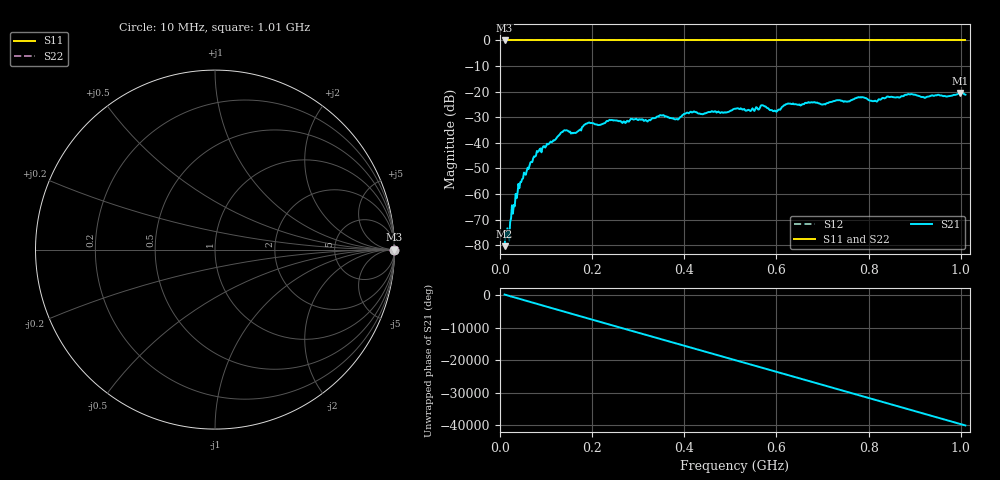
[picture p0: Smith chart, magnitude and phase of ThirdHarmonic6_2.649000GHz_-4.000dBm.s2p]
! 8/17/2025 6:01:55 AM
! C:\ANRITSUVNA\TEMP\TEMP.S2P
! CHANNEL.1
! TR.MEASUREMENT
! RAW.DATA
! RF.CORRECTION.OFF
! AVERAGING.OFF
! IF.BANDWIDTH: 5KHZ
! SWEEPTYPE:  FREQ.SWEEP(Linear)
! Reference Plane Port Info
! PORT:  PORT1  PORT2
! DISTANCE:  0  m  0  m
! TIME:  0  s  0  s
! PHASE.OFFSET:  0  deg.  0  deg.
! LOSS:  0  dB  0  dB
! REF.LOSS:  0  dB  0  dB
! REF.FREQ:  0  Hz  0  Hz
! Power Info
! POWER:  -20  dBm  -20  dBm
! EFF.POWER:  -20  dBm  -20  dBm
! SOURCE.ATTEN:  0  dB  0  dB
! TEST.ATTEN:  0  dB  0  dB
# GHZ S RI R 50.0
! FREQ.GHZ  S11RE  S11IM  S21RE  S21IM  S12RE  S12IM  S22RE  S22IM
!; PortSelection: Port_12
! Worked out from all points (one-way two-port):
!   501 points, 10 MHz to 1.01 GHz, reference 50 ohm
!   highest |S21| = -20.46 dB at 998 MHz (marker M1); lowest = -80.3 dB at 10 MHz (marker M2)
!   lowest |S11| = 0.0 dB at 10 MHz (marker M3)
!   |S11| at or under -10 dB: nowhere
!   |S22| runs from 0.0 to 0.0 dB; largest |S21 - S12| = 1.1
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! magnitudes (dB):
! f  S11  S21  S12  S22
! 10 MHz  0.0  -80.3  0.0  0.0
! 18 MHz  0.0  -75.7  0.0  0.0
! 30 MHz  0.0  -64.3  0.0  0.0
! 44 MHz  0.0  -55.4  0.0  0.0
! 76 MHz  0.0  -45.3  0.0  0.0
! 136 MHz  0.0  -35.7  0.0  0.0
! 162 MHz  0.0  -36.1  0.0  0.0
! 178 MHz  0.0  -33.8  0.0  0.0
! 190 MHz  0.0  -32.3  0.0  0.0
! 322 MHz  0.0  -31.3  0.0  0.0
! 344 MHz  0.0  -29.8  0.0  0.0
! 384 MHz  0.0  -30.7  0.0  0.0
! 410 MHz  0.0  -28.4  0.0  0.0
! 510 MHz  0.0  -26.6  0.0  0.0
! 570 MHz  0.0  -25.3  0.0  0.0
! 598 MHz  0.0  -27.5  0.0  0.0
! 624 MHz  0.0  -24.7  0.0  0.0
! 678 MHz  0.0  -24.2  0.0  0.0
! 814 MHz  0.0  -23.5  0.0  0.0
! 844 MHz  0.0  -22.0  0.0  0.0
! 998 MHz  0.0  -20.5  0.0  0.0
! 1.01 GHz  0.0  -21.2  0.0  0.0
